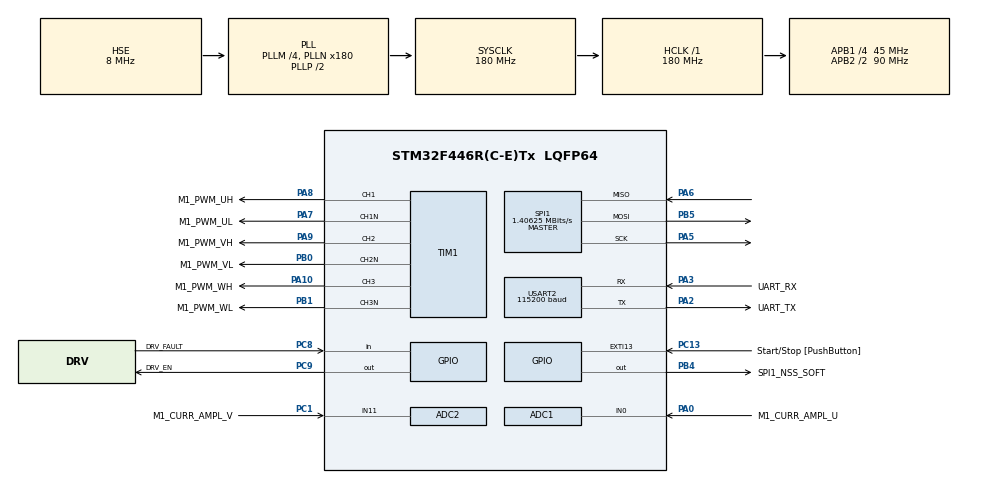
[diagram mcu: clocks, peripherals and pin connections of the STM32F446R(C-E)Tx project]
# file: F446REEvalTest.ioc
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ADC1.Channel-1\#ChannelInjectedConversion=ADC_CHANNEL_0
ADC1.Channel-1\#ChannelRegularConversion=ADC_CHANNEL_0
ADC1.ClockPrescaler=ADC_CLOCK_SYNC_PCLK_DIV4
ADC1.ContinuousConvMode=DISABLE
ADC1.DMAContinuousRequests=DISABLE
ADC1.DataAlign=ADC_DATAALIGN_LEFT
ADC1.DiscontinuousConvMode=DISABLE
ADC1.EOCSelection=ADC_EOC_SINGLE_CONV
ADC1.EnableAnalogWatchDog=false
ADC1.EnableInjectedConversion=ENABLE
ADC1.EnableRegularConversion=ENABLE
ADC1.ExternalTrigConv=ADC_SOFTWARE_START
ADC1.ExternalTrigConvEdge=ADC_EXTERNALTRIGCONVEDGE_NONE
ADC1.ExternalTrigInjecConv=ADC_EXTERNALTRIGINJECCONV_T1_CC4
ADC1.ExternalTrigInjecConvEdge=ADC_EXTERNALTRIGINJECCONVEDGE_RISING
ADC1.InjNumberOfConversion=1
ADC1.InjectedConvMode=None
ADC1.InjectedOffset-1\#ChannelInjectedConversion=0
ADC1.InjectedRank-1\#ChannelInjectedConversion=1
ADC1.NbrOfConversion=1
ADC1.NbrOfConversionFlag=1
ADC1.Rank-1\#ChannelRegularConversion=1
ADC1.Resolution=ADC_RESOLUTION_12B
ADC1.SamplingTime-1\#ChannelInjectedConversion=ADC_SAMPLETIME_3CYCLES
ADC1.SamplingTime-1\#ChannelRegularConversion=ADC_SAMPLETIME_3CYCLES
ADC1.ScanConvMode=ENABLE
ADC1.master=1
ADC2.Channel-1\#ChannelInjectedConversion=ADC_CHANNEL_11
ADC2.Channel-1\#ChannelRegularConversion=ADC_CHANNEL_11
ADC2.ClockPrescaler=ADC_CLOCK_SYNC_PCLK_DIV4
ADC2.ContinuousConvMode=DISABLE
ADC2.DMAContinuousRequests=DISABLE
ADC2.DataAlign=ADC_DATAALIGN_LEFT
ADC2.DiscontinuousConvMode=DISABLE
ADC2.EOCSelection=ADC_EOC_SINGLE_CONV
ADC2.EnableAnalogWatchDog=false
ADC2.EnableInjectedConversion=ENABLE
ADC2.EnableRegularConversion=ENABLE
ADC2.ExternalTrigConv=ADC_SOFTWARE_START
ADC2.ExternalTrigConvEdge=ADC_EXTERNALTRIGCONVEDGE_NONE
ADC2.ExternalTrigInjecConv=ADC_EXTERNALTRIGINJECCONV_T1_CC4
ADC2.ExternalTrigInjecConvEdge=ADC_EXTERNALTRIGINJECCONVEDGE_RISING
ADC2.InjNumberOfConversion=1
ADC2.InjectedConvMode=None
ADC2.InjectedOffset-1\#ChannelInjectedConversion=0
ADC2.InjectedRank-1\#ChannelInjectedConversion=1
ADC2.NbrOfConversion=1
ADC2.NbrOfConversionFlag=1
ADC2.Rank-1\#ChannelRegularConversion=1
ADC2.Resolution=ADC_RESOLUTION_12B
ADC2.SamplingTime-1\#ChannelInjectedConversion=ADC_SAMPLETIME_3CYCLES
ADC2.SamplingTime-1\#ChannelRegularConversion=ADC_SAMPLETIME_3CYCLES
ADC2.ScanConvMode=ENABLE
ExtraMW=MotorControl
ExtraMW.MotorControl.Config=MotorControl
ExtraMW.MotorControl.Mode=MotorControl
ExtraMW.MotorControl.Root=MCSDK_v5.4.4/MotorControl
ExtraMW.MotorControl.Template=templates
Mcu.Family=STM32F4
Mcu.Name=STM32F446R(C-E)Tx
Mcu.Package=LQFP64
MotorControl.ADC_1_PERIPH=ADC1
MotorControl.ADC_2_PERIPH=ADC2
MotorControl.ADC_AHBPERIPH=RCC_AHBPeriph_ADC12
MotorControl.ADC_CLOCK_WB_DIV=1
MotorControl.ADC_CLOCK_WB_FREQ=22.5
MotorControl.ADC_PERIPH=ADC1
MotorControl.ADC_REFERENCE_VOLTAGE=3.30
MotorControl.ALIGNMENT_ANGLE_DEG=90
MotorControl.ALIGNMENT_DURATION=700
MotorControl.AMPLIFICATION_GAIN=0.060
MotorControl.ANGC={0,0,0,0,0,0,0,0}
MotorControl.BEMF_CONSISTENCY_GAIN=64
MotorControl.BEMF_CONSISTENCY_TOL=64
MotorControl.BKIN1_FILTER=0
MotorControl.BKIN2_FILTER=0
MotorControl.BKIN2_MODE=NONE
MotorControl.BKIN_MODE=NONE
MotorControl.BOARD=NUCLEO-F446RE
MotorControl.BRKIN2_GPIO_AF=GPIO_AF_2
MotorControl.BRKIN_GPIO_AF=GPIO_AF_2
MotorControl.BUS_VOLTAGE_READING=false
MotorControl.CCMRAM_ENABLED=false
MotorControl.CLOCK_FREQUENCY=CPU_CLK_180_MHZ
MotorControl.CLOCK_SOURCE=EXTERNAL
MotorControl.CONSTANT1_D=8902
MotorControl.CONSTANT1_Q=8902
MotorControl.CONSTANT2_QD=3042
MotorControl.CORD_BEMF_CONSISTENCY_GAIN=64
MotorControl.CORD_BEMF_CONSISTENCY_TOL=64
MotorControl.CORD_F1=4096
MotorControl.CORD_F2=16384
MotorControl.CORD_FIFO_DEPTH_01HZ=64
MotorControl.CORD_FIFO_DEPTH_DPP=64
MotorControl.CORD_GAIN1=-4634
MotorControl.CORD_GAIN2=22123
MotorControl.CORD_MAX_ACCEL_DPPP=30
MotorControl.CORD_MEAS_ERRORS_BEFORE_FAULTS=3
MotorControl.CORD_VARIANCE_THRESHOLD=4
MotorControl.CPU_CLK_180_MHZ=true
MotorControl.CTRBDID=17
MotorControl.CUBE_MX_VER=5.6.1
MotorControl.CURRENT_READING_TOPOLOGY=ICS_SENSORS
MotorControl.CURR_SAMPLING_TIME=3
MotorControl.DAC_EMULATED=false
MotorControl.DAC_FUNCTIONALITY=false
MotorControl.DAC_TIMER_CH1_GPIO_PIN=LL_GPIO_PIN_0
MotorControl.DAC_TIMER_CH1_GPIO_PORT=GPIOA
MotorControl.DAC_TIMER_CH2_GPIO_PIN=LL_GPIO_PIN_0
MotorControl.DAC_TIMER_CH2_GPIO_PORT=GPIOA
MotorControl.DAC_TIMER_SELECTION=TIM3
MotorControl.DC_CURRENT_RS_MEAS=21.00
MotorControl.DEBUG_DAC_CH1=false
MotorControl.DEBUG_DAC_CH2=false
MotorControl.DEFAULT_CONTROL_MODE=STC_SPEED_MODE
MotorControl.DEFAULT_DAC_CHANNEL_1=MC_PROTOCOL_REG_I_A
MotorControl.DEFAULT_DAC_CHANNEL_2=MC_PROTOCOL_REG_I_B
MotorControl.DEFAULT_DAC_MOTOR=0
MotorControl.DEFAULT_FLUX_COMPONENT=0
MotorControl.DEFAULT_TARGET_SPEED_RPM=1000
MotorControl.DEFAULT_TORQUE_COMPONENT=0
MotorControl.DISSIPATIVE_BRAKE_POLARITY=DOUT_ACTIVE_HIGH
MotorControl.DRIVES_NUMBER_SELECTION=SINGLEDRIVE
MotorControl.EMERGENCY2_STOP_GPIO_PIN=LL_GPIO_PIN_6
MotorControl.EMERGENCY2_STOP_GPIO_PORT=GPIOA
MotorControl.EMERGENCY_STOP_GPIO_PIN=LL_GPIO_PIN_6
MotorControl.EMERGENCY_STOP_GPIO_PORT=GPIOA
MotorControl.ENABLE_SL_ALGO_FROM_PHASE=3
MotorControl.ENCODER_AVAILABLE=false
MotorControl.ENCODER_PPR=400
MotorControl.ENC_AVERAGING_FIFO_DEPTH=16
MotorControl.ENC_A_GPIO_PIN=LL_GPIO_PIN_15
MotorControl.ENC_A_GPIO_PORT=GPIOA
MotorControl.ENC_B_GPIO_PIN=LL_GPIO_PIN_3
MotorControl.ENC_B_GPIO_PORT=GPIOB
MotorControl.ENC_ICx_FILTER=63
MotorControl.ENC_INVERT_SPEED=false
MotorControl.ENC_MEAS_ERRORS_BEFORE_FAULTS=3
MotorControl.ENC_TIMER_REMAPPING=NO_REMAP_TIM2
MotorControl.ENC_TIMER_SELECTION=ENC_TIM2
MotorControl.ENC_USE_CH3=false
MotorControl.EXT_CLK_8_MHZ=true
MotorControl.EXT_CLOCK_FREQUENCY=EXT_CLK_8_MHZ
MotorControl.F1=4096
MotorControl.F2=16384
MotorControl.FEEDBACK_NET_FILTERING=false
MotorControl.FEED_FORWARD_CURRENT_REG_ENABLING=false
MotorControl.FINAL_I_ALIGNMENT=2323
MotorControl.FLUX_WEAKENING_ENABLING=false
MotorControl.FW_KIDIV=32768
MotorControl.FW_KI_GAIN=5000
MotorControl.FW_KPDIV=32768
MotorControl.FW_KP_GAIN=3000
MotorControl.FW_VOLTAGE_REF=985
MotorControl.GAIN1=-4634
MotorControl.GAIN2=22123
MotorControl.H1_GPIO_PIN=LL_GPIO_PIN_15
MotorControl.H1_GPIO_PORT=GPIOA
MotorControl.H2_GPIO_PIN=LL_GPIO_PIN_3
MotorControl.H2_GPIO_PORT=GPIOB
MotorControl.H3_GPIO_PIN=LL_GPIO_PIN_10
MotorControl.H3_GPIO_PORT=GPIOB
MotorControl.HALL_AVERAGING_FIFO_DEPTH=6
MotorControl.HALL_ICx_FILTER=117
MotorControl.HALL_MEAS_ERRORS_BEFORE_FAULTS=3
MotorControl.HALL_MTPA=false
MotorControl.HALL_PHASE_SHIFT=300
MotorControl.HALL_SENSORS_AVAILABLE=false
MotorControl.HALL_SENSORS_PLACEMENT=DEGREES_120
MotorControl.HALL_TIMER_REMAPPING=NO_REMAP_TIM2
MotorControl.HALL_TIMER_SELECTION=HALL_TIM2
MotorControl.HFI_AMPLITUDE=25
MotorControl.HFI_DC_0_COEFF=0.00146
MotorControl.HFI_DC_1_COEFF=0.002921
MotorControl.HFI_DC_2_COEFF=0.00146
MotorControl.HFI_DC_3_COEFF=1.889033
MotorControl.HFI_DC_4_COEFF=-0.894874
MotorControl.HFI_DEBUG_MODE=false
MotorControl.HFI_FREQUENCY=400
MotorControl.HFI_HIFRAMPLSCAN=25
MotorControl.HFI_HP_ID_0_COEFF=0.959381
MotorControl.HFI_HP_ID_1_COEFF=-1.918761
MotorControl.HFI_HP_ID_2_COEFF=0.959381
MotorControl.HFI_HP_ID_3_COEFF=1.917111
MotorControl.HFI_HP_ID_4_COEFF=-0.920412
MotorControl.HFI_IDH_DELAY=32400
MotorControl.HFI_LOCKFREQ=22
MotorControl.HFI_LP_ID_0_COEFF=0.002751
MotorControl.HFI_LP_ID_1_COEFF=0.005502
MotorControl.HFI_LP_ID_2_COEFF=0.002751
MotorControl.HFI_LP_ID_3_COEFF=1.846252
MotorControl.HFI_LP_ID_4_COEFF=-0.857255
MotorControl.HFI_MAXANGLEDIFF=3640
MotorControl.HFI_MINIMUM_SPEED_RPM=402
MotorControl.HFI_NOTCH_IQD_0_COEFF=0.979509
MotorControl.HFI_NOTCH_IQD_1_COEFF=-1.952148
MotorControl.HFI_NOTCH_IQD_2_COEFF=0.979509
MotorControl.HFI_NOTCH_IQD_3_COEFF=1.952148
MotorControl.HFI_NOTCH_IQD_4_COEFF=-0.959018
MotorControl.HFI_NSDETPOINTSSKIP=10
MotorControl.HFI_NSMAXDETPOINTS=20
MotorControl.HFI_NS_MIN_SAT_DIFF=0
MotorControl.HFI_PID_KIDIV=32768
MotorControl.HFI_PID_KI_DEFAULT=400
MotorControl.HFI_PID_KPDIV=16384
MotorControl.HFI_PID_KP_DEFAULT=800
MotorControl.HFI_PLL_KI_DEFAULT=0.00400
MotorControl.HFI_PLL_KP_DEFAULT=0.00060
MotorControl.HFI_RESTARTTIMESEC=0.1
MotorControl.HFI_RESTART_RPM_TH=(((HFI_STO_RPM_TH)+(STO_HFI_RPM_TH))/2)
MotorControl.HFI_REVERT_DIRECTION=true
MotorControl.HFI_SCANROTATIONSNO=3
MotorControl.HFI_SPD_BUFFER_DEPTH_01HZ=64
MotorControl.HFI_STEPANGLE=3640
MotorControl.HFI_STO_RPM_TH=OBS_MINIMUM_SPEED_RPM
MotorControl.HFI_WAITAFTERNS2=4
MotorControl.HFI_WAITBEFORESN=6
MotorControl.HFI_WAITSYNCH=20
MotorControl.HFI_WAITTRACK=20
MotorControl.HIGH_SIDE_BRAKE_STATE=false
MotorControl.HIGH_SIDE_IDLE_STATE=false
MotorControl.HW_COMPLEMENTED_LOW_SIDE=false
MotorControl.HW_DEAD_TIME_NS=100
MotorControl.HW_OV_CURRENT_PROT_BYPASS=false
MotorControl.ICS_SENSORS=true
MotorControl.ID_DEMAG=-25022
MotorControl.INRUSH_CURRLIMIT_AT_POWER_ON=false
MotorControl.INRUSH_CURRLIMIT_CHANGE_AFTER_MS=1000
MotorControl.INRUSH_CURRLIMIT_ENABLING=false
MotorControl.INRUSH_CURRLIMIT_GPIO_PIN=LL_GPIO_PIN_10
MotorControl.INRUSH_CURRLIMIT_GPIO_PORT=GPIOC
MotorControl.INRUSH_CURR_LIMITER_POLARITY=DOUT_ACTIVE_HIGH
MotorControl.INTERNAL_OVERCURRENTPROTECTION=false
MotorControl.INTERNAL_OVERVOLTAGEPROTECTION=false
MotorControl.IPs=NVIC,RCC,SYS,MotorControl,ADC1,ADC2,TIM1,USART2
MotorControl.IQMAX=25022
MotorControl.LCD_JOYSTICK_FUNCTIONALITY=false
MotorControl.LCD_MODE=LCD_FULL
MotorControl.LDLQ_RATIO=1.000
MotorControl.LOW_SIDE_BRAKE_STATE=false
MotorControl.LOW_SIDE_IDLE_STATE=false
MotorControl.LOW_SIDE_SIGNALS_ENABLING=LS_PWM_TIMER
MotorControl.LS=0.000040
MotorControl.MAX_APPLICATION_SPEED=6000
MotorControl.MAX_MODULATION_100_PER_CENT=true
MotorControl.MAX_MODULATION_INDEX=MAX_MODULATION_100_PER_CENT
MotorControl.MCU=STM32F446RE
MotorControl.MCU_TYPE=STM32F446xC_xE
MotorControl.MC_WORKBENCH_VERSION=5.4.4.20160
MotorControl.MEAS_ERRORS_BEFORE_FAULTS=3
MotorControl.MIN_APPLICATION_SPEED=0
MotorControl.MOTOR_MAX_SPEED_RPM=6000
MotorControl.MOTOR_TYPE=PMSM
MotorControl.MOTOR_VOLTAGE_CONSTANT=2.7
MotorControl.MTPA_ENABLING=false
MotorControl.NB_CONSECUTIVE_TESTS=50
MotorControl.NOMINAL_BUS_VOLTAGE_V=16
MotorControl.NOMINAL_CURRENT=25022
MotorControl.OBS_MEAS_ERRORS_BEFORE_FAULTS=3
MotorControl.OBS_MINIMUM_SPEED_RPM=500
MotorControl.OCPA_INVERTINGINPUT=COMPX_InvertingInput_VREF
MotorControl.OCPA_INVERTINGINPUT_GPIO_PIN=LL_GPIO_PIN_4
MotorControl.OCPA_INVERTINGINPUT_GPIO_PORT=GPIOA
MotorControl.OCPA_INVERTINGINPUT_MODE=INT_MODE
MotorControl.OCPA_NONINVERTINGINPUT=COMP1_NonInvertingInput_PA1
MotorControl.OCPA_NONINVERTINGINPUT_GPIO_PIN=LL_GPIO_PIN_1
MotorControl.OCPA_NONINVERTINGINPUT_GPIO_PORT=GPIOA
MotorControl.OCPA_OUTPUT=COMP_Output_TIM1BKIN2
MotorControl.OCPA_OUTPUTPOL=COMP_OutputPol_NonInverted
MotorControl.OCPA_OUTPUT_GPIO_AF=GPIO_AF_8
MotorControl.OCPA_OUTPUT_GPIO_PIN=LL_GPIO_PIN_0
MotorControl.OCPA_OUTPUT_GPIO_PORT=GPIOA
MotorControl.OCPA_OUTPUT_MODE=INT_MODE
MotorControl.OCPA_SELECTION=COMP1
MotorControl.OCPB_INVERTINGINPUT=COMPX_InvertingInput_VREF
MotorControl.OCPB_INVERTINGINPUT_GPIO_PIN=LL_GPIO_PIN_4
MotorControl.OCPB_INVERTINGINPUT_GPIO_PORT=GPIOA
MotorControl.OCPB_INVERTINGINPUT_MODE=INT_MODE
MotorControl.OCPB_NONINVERTINGINPUT=COMP2_NonInvertingInput_PA7
MotorControl.OCPB_NONINVERTINGINPUT_GPIO_PIN=LL_GPIO_PIN_7
MotorControl.OCPB_NONINVERTINGINPUT_GPIO_PORT=GPIOA
MotorControl.OCPB_OUTPUT=COMP_Output_TIM1BKIN2
MotorControl.OCPB_OUTPUTPOL=COMP_OutputPol_NonInverted
MotorControl.OCPB_OUTPUT_GPIO_AF=GPIO_AF_8
MotorControl.OCPB_OUTPUT_GPIO_PIN=LL_GPIO_PIN_2
MotorControl.OCPB_OUTPUT_GPIO_PORT=GPIOA
MotorControl.OCPB_OUTPUT_MODE=INT_MODE
MotorControl.OCPB_SELECTION=COMP2
MotorControl.OCPC_INVERTINGINPUT=COMPX_InvertingInput_VREF
MotorControl.OCPC_INVERTINGINPUT_GPIO_PIN=LL_GPIO_PIN_4
MotorControl.OCPC_INVERTINGINPUT_GPIO_PORT=GPIOA
MotorControl.OCPC_INVERTINGINPUT_MODE=INT_MODE
MotorControl.OCPC_NONINVERTINGINPUT=COMP3_NonInvertingInput_PD14
MotorControl.OCPC_NONINVERTINGINPUT_GPIO_PIN=LL_GPIO_PIN_14
MotorControl.OCPC_NONINVERTINGINPUT_GPIO_PORT=GPIOD
MotorControl.OCPC_OUTPUT=COMP_Output_TIM1BKIN2
MotorControl.OCPC_OUTPUTPOL=COMP_OutputPol_NonInverted
MotorControl.OCPC_OUTPUT_GPIO_AF=GPIO_AF_7
MotorControl.OCPC_OUTPUT_GPIO_PIN=LL_GPIO_PIN_8
MotorControl.OCPC_OUTPUT_GPIO_PORT=GPIOC
MotorControl.OCPC_OUTPUT_MODE=INT_MODE
MotorControl.OCPC_SELECTION=COMP3
MotorControl.OCPREF=23830
MotorControl.OCP_COMP_THRESHOLD=0.50
MotorControl.OCP_FILTER=COMP_Mode_HighSpeed
MotorControl.OCP_INVERTINGINPUT=COMPX_InvertingInput_VREF
MotorControl.OCP_INVERTINGINPUT_GPIO_PIN=LL_GPIO_PIN_4
MotorControl.OCP_INVERTINGINPUT_GPIO_PORT=GPIOA
MotorControl.OCP_INVERTINGINPUT_MODE=INT_MODE
MotorControl.OCP_NONINVERTINGINPUT=COMP2_NonInvertingInput_PA7
MotorControl.OCP_NONINVERTINGINPUT_GPIO_PIN=LL_GPIO_PIN_7
MotorControl.OCP_NONINVERTINGINPUT_GPIO_PORT=GPIOA
MotorControl.OCP_OUTPUT=COMP_Output_TIM1BKIN2
MotorControl.OCP_OUTPUTPOL=COMP_OutputPol_NonInverted
MotorControl.OCP_OUTPUT_GPIO_AF=GPIO_AF_8
MotorControl.OCP_OUTPUT_GPIO_PIN=LL_GPIO_PIN_2
MotorControl.OCP_OUTPUT_GPIO_PORT=GPIOA
MotorControl.OCP_OUTPUT_MODE=INT_MODE
MotorControl.OCP_SELECTION=COMP2
MotorControl.OFST={0,0,0,0,0,0,0,0}
MotorControl.ON_OVER_VOLTAGE=TURN_OFF_PWM
MotorControl.OPAMP1_INVERTINGINPUT=OPAMP1_InvertingInput_PGA
MotorControl.OPAMP1_INVERTINGINPUT_GPIO_PIN=LL_GPIO_PIN_3
MotorControl.OPAMP1_INVERTINGINPUT_GPIO_PORT=GPIOA
MotorControl.OPAMP1_INVERTINGINPUT_MODE=INT_MODE
MotorControl.OPAMP1_NONINVERTINGINPUT_PHA=OPAMP1_NonInvertingInput_PA1
MotorControl.OPAMP1_NONINVERTINGINPUT_PHA_GPIO_PIN=LL_GPIO_PIN_1
MotorControl.OPAMP1_NONINVERTINGINPUT_PHA_GPIO_PORT=GPIOA
MotorControl.OPAMP1_NONINVERTINGINPUT_PHB=OPAMP1_NonInvertingInput_PA7
MotorControl.OPAMP1_NONINVERTINGINPUT_PHB_GPIO_PIN=LL_GPIO_PIN_7
MotorControl.OPAMP1_NONINVERTINGINPUT_PHB_GPIO_PORT=GPIOA
MotorControl.OPAMP1_OUT_GPIO_PIN=LL_GPIO_PIN_2
MotorControl.OPAMP1_OUT_GPIO_PORT=GPIOA
MotorControl.OPAMP1_SELECTION=OPAMP1
MotorControl.OPAMP2_INVERTINGINPUT=OPAMP2_InvertingInput_PGA
MotorControl.OPAMP2_INVERTINGINPUT_GPIO_PIN=LL_GPIO_PIN_5
MotorControl.OPAMP2_INVERTINGINPUT_GPIO_PORT=GPIOC
MotorControl.OPAMP2_INVERTINGINPUT_MODE=INT_MODE
MotorControl.OPAMP2_NONINVERTINGINPUT_PHA=OPAMP2_NonInvertingInput_PD14
MotorControl.OPAMP2_NONINVERTINGINPUT_PHA_GPIO_PIN=LL_GPIO_PIN_14
MotorControl.OPAMP2_NONINVERTINGINPUT_PHA_GPIO_PORT=GPIOD
MotorControl.OPAMP2_NONINVERTINGINPUT_PHB=OPAMP2_NonInvertingInput_PA7
MotorControl.OPAMP2_NONINVERTINGINPUT_PHB_GPIO_PIN=LL_GPIO_PIN_7
MotorControl.OPAMP2_NONINVERTINGINPUT_PHB_GPIO_PORT=GPIOA
MotorControl.OPAMP2_NONINVERTINGINPUT_PHC=OPAMP2_NonInvertingInput_PD14
MotorControl.OPAMP2_NONINVERTINGINPUT_PHC_GPIO_PIN=LL_GPIO_PIN_14
MotorControl.OPAMP2_NONINVERTINGINPUT_PHC_GPIO_PORT=GPIOD
MotorControl.OPAMP2_OUT_GPIO_PIN=LL_GPIO_PIN_6
MotorControl.OPAMP2_OUT_GPIO_PORT=GPIOA
MotorControl.OPAMP2_SELECTION=OPAMP2
MotorControl.OPAMP3_INVERTINGINPUT=OPAMP1_InvertingInput_PGA
MotorControl.OPAMP3_INVERTINGINPUT_GPIO_PIN=LL_GPIO_PIN_0
MotorControl.OPAMP3_INVERTINGINPUT_GPIO_PORT=GPIOA
MotorControl.OPAMP3_INVERTINGINPUT_MODE=INT_MODE
MotorControl.OPAMP3_SELECTION=OPAMP1
MotorControl.OPAMP_INVERTINGINPUT=OPAMP1_InvertingInput_PGA
MotorControl.OPAMP_INVERTINGINPUT_GPIO_PIN=LL_GPIO_PIN_3
MotorControl.OPAMP_INVERTINGINPUT_GPIO_PORT=GPIOA
MotorControl.OPAMP_INVERTINGINPUT_MODE=INT_MODE
MotorControl.OPAMP_NONINVERTINGINPUT=OPAMP1_NonInvertingInput_PA7
MotorControl.OPAMP_NONINVERTINGINPUT_GPIO_PIN=LL_GPIO_PIN_7
MotorControl.OPAMP_NONINVERTINGINPUT_GPIO_PORT=GPIOA
MotorControl.OPAMP_OUT_GPIO_PIN=LL_GPIO_PIN_2
MotorControl.OPAMP_OUT_GPIO_PORT=GPIOA
MotorControl.OPAMP_PGACONNECT=OPAMP_PGAConnect_No
MotorControl.OPAMP_PGAGAIN=OPAMP_OPAMP_PGAGain_2
MotorControl.OPAMP_SELECTION=OPAMP1
MotorControl.OPAMP_TYPE_GAIN=INTERNAL
MotorControl.OPEN_LOOP_FOC=false
MotorControl.OPEN_LOOP_K=44
MotorControl.OPEN_LOOP_OFF=4400
MotorControl.OPEN_LOOP_SPEED_RAMP_DURATION_MS=1000
MotorControl.OPEN_LOOP_SPEED_RPM=100
MotorControl.OPEN_LOOP_VF=false
MotorControl.OPEN_LOOP_VOLTAGE_d=6000
MotorControl.OVERCURR_FEEDBACK_POLARITY=EMSTOP_ACTIVE_LOW
MotorControl.OVERCURR_PROTECTION_HW_DISABLING=DOUT_ACTIVE_HIGH
MotorControl.OVPREF=23830
MotorControl.OVP_FILTER=COMP_Mode_HighSpeed
MotorControl.OVP_INVERTINGINPUT=COMPX_InvertingInput_VREF
MotorControl.OVP_INVERTINGINPUT_GPIO_PIN=LL_GPIO_PIN_4
MotorControl.OVP_INVERTINGINPUT_GPIO_PORT=GPIOA
MotorControl.OVP_INVERTINGINPUT_MODE=INT_MODE
MotorControl.OVP_NONINVERTINGINPUT=COMP7_NonInvertingInput_PA0
MotorControl.OVP_NONINVERTINGINPUT_GPIO_PIN=LL_GPIO_PIN_0
MotorControl.OVP_NONINVERTINGINPUT_GPIO_PORT=GPIOA
MotorControl.OVP_OUTPUT=COMP_Output_TIM1BKIN
MotorControl.OVP_OUTPUTPOL=COMP_OutputPol_NonInverted
MotorControl.OVP_OUTPUT_GPIO_AF=GPIO_AF_3
MotorControl.OVP_OUTPUT_GPIO_PIN=LL_GPIO_PIN_2
MotorControl.OVP_OUTPUT_GPIO_PORT=GPIOC
MotorControl.OVP_OUTPUT_MODE=INT_MODE
MotorControl.OVP_SELECTION=COMP7
MotorControl.OV_CURR_BYPASS_GPIO_PIN=LL_GPIO_PIN_11
MotorControl.OV_CURR_BYPASS_GPIO_PORT=GPIOC
MotorControl.OV_TEMPERATURE_HYSTERESIS_C=10
MotorControl.OV_TEMPERATURE_PROT_ENABLING=false
MotorControl.OV_TEMPERATURE_THRESHOLD_C=70
MotorControl.OV_VOLTAGE_PROT_ENABLING=false
MotorControl.OV_VOLTAGE_THRESHOLD_V=30
MotorControl.PHASE1_DURATION=0
MotorControl.PHASE1_FINAL_CURRENT=0
MotorControl.PHASE1_FINAL_SPEED_RPM=0
MotorControl.PHASE2_DURATION=1500
MotorControl.PHASE2_FINAL_CURRENT=893
MotorControl.PHASE2_FINAL_SPEED_RPM=0
MotorControl.PHASE3_DURATION=1000
MotorControl.PHASE3_FINAL_CURRENT=893
MotorControl.PHASE3_FINAL_SPEED_RPM=1000
MotorControl.PHASE4_DURATION=0
MotorControl.PHASE4_FINAL_CURRENT=893
MotorControl.PHASE4_FINAL_SPEED_RPM=1000
MotorControl.PHASE5_DURATION=0
MotorControl.PHASE5_FINAL_CURRENT=893
MotorControl.PHASE5_FINAL_SPEED_RPM=1000
MotorControl.PHASE_CURRENTS_ADC=ADC123
MotorControl.PHASE_CURRENTS_CHANNEL=ADC_CHANNEL_11
MotorControl.PHASE_CURRENTS_GPIO_PIN=LL_GPIO_PIN_1
MotorControl.PHASE_CURRENTS_GPIO_PORT=GPIOC
MotorControl.PHASE_UH_GPIO_AF=GPIO_AF_6
MotorControl.PHASE_UH_GPIO_PIN=LL_GPIO_PIN_8
MotorControl.PHASE_UH_GPIO_PORT=GPIOA
MotorControl.PHASE_UH_POLARITY=H_ACTIVE_HIGH
MotorControl.PHASE_UL_GPIO_AF=GPIO_AF_6
MotorControl.PHASE_UL_GPIO_PIN=LL_GPIO_PIN_7
MotorControl.PHASE_UL_GPIO_PORT=GPIOA
MotorControl.PHASE_UL_POLARITY=L_ACTIVE_HIGH
MotorControl.PHASE_U_CURR_ADC=ADC123
MotorControl.PHASE_U_CURR_CHANNEL=ADC_CHANNEL_0
MotorControl.PHASE_U_GPIO_PIN=LL_GPIO_PIN_0
MotorControl.PHASE_U_GPIO_PORT=GPIOA
MotorControl.PHASE_VH_GPIO_AF=GPIO_AF_6
MotorControl.PHASE_VH_GPIO_PIN=LL_GPIO_PIN_9
MotorControl.PHASE_VH_GPIO_PORT=GPIOA
MotorControl.PHASE_VH_POLARITY=H_ACTIVE_HIGH
MotorControl.PHASE_VL_GPIO_AF=GPIO_AF_6
MotorControl.PHASE_VL_GPIO_PIN=LL_GPIO_PIN_0
MotorControl.PHASE_VL_GPIO_PORT=GPIOB
MotorControl.PHASE_VL_POLARITY=L_ACTIVE_HIGH
MotorControl.PHASE_V_CURR_ADC=ADC123
MotorControl.PHASE_V_CURR_CHANNEL=ADC_CHANNEL_11
MotorControl.PHASE_V_GPIO_PIN=LL_GPIO_PIN_1
MotorControl.PHASE_V_GPIO_PORT=GPIOC
MotorControl.PHASE_WH_GPIO_AF=GPIO_AF_6
MotorControl.PHASE_WH_GPIO_PIN=LL_GPIO_PIN_10
MotorControl.PHASE_WH_GPIO_PORT=GPIOA
MotorControl.PHASE_WH_POLARITY=H_ACTIVE_HIGH
MotorControl.PHASE_WL_GPIO_AF=GPIO_AF_6
MotorControl.PHASE_WL_GPIO_PIN=LL_GPIO_PIN_1
MotorControl.PHASE_WL_GPIO_PORT=GPIOB
MotorControl.PHASE_WL_POLARITY=L_ACTIVE_HIGH
MotorControl.PHASE_W_CURR_ADC=ADC123
MotorControl.PHASE_W_CURR_CHANNEL=ADC_CHANNEL_10
MotorControl.PHASE_W_GPIO_PIN=LL_GPIO_PIN_0
MotorControl.PHASE_W_GPIO_PORT=GPIOC
MotorControl.PID_FLUX_KD_DEFAULT=100
MotorControl.PID_FLUX_KI_DEFAULT=3323
MotorControl.PID_FLUX_KP_DEFAULT=3379
MotorControl.PID_SPEED_KD_DEFAULT=0
MotorControl.PID_SPEED_KI_DEFAULT=520
MotorControl.PID_SPEED_KP_DEFAULT=3958
MotorControl.PID_TORQUE_KD_DEFAULT=100
MotorControl.PID_TORQUE_KI_DEFAULT=3323
MotorControl.PID_TORQUE_KP_DEFAULT=3379
MotorControl.PLL_KI_GAIN=17
MotorControl.PLL_KP_GAIN=745
MotorControl.POLE_PAIR_NUM=7
MotorControl.POSITION_CTRL_ENABLING=false
MotorControl.PWBDID=0
MotorControl.PWM_FREQUENCY=60000
MotorControl.PWM_TIMER_REMAPPING=PWM_NO_REMAP
MotorControl.PWM_TIMER_SELECTION=PWM_TIM1
MotorControl.REGCONVADC=ADC1
MotorControl.REGULATION_EXECUTION_RATE=2
MotorControl.RS=0.59
MotorControl.RSHUNT=0.22000
MotorControl.RTOS=NONE
MotorControl.R_BRAKE_GPIO_PIN=LL_GPIO_PIN_11
MotorControl.R_BRAKE_GPIO_PORT=GPIOC
MotorControl.R_BRAKE_SWITCH_OFF_THRES_V=24
MotorControl.SEGDIV=0
MotorControl.SERIAL_COMMUNICATION=true
MotorControl.SERIAL_COM_CHANNEL1=MC_PROTOCOL_REG_I_A
MotorControl.SERIAL_COM_CHANNEL2=MC_PROTOCOL_REG_I_A
MotorControl.SERIAL_COM_MODE=COM_BIDIRECTIONAL
MotorControl.SERIAL_COM_MOTOR=0
MotorControl.SHARED_SIGNAL_ENABLE=false
MotorControl.SINGLEDRIVE=true
MotorControl.SPD_DIFFERENTIAL_TERM_ENABLING=false
MotorControl.SPEED_BAND_LOWER_LIMIT=15
MotorControl.SPEED_BAND_UPPER_LIMIT=17
MotorControl.SPEED_FEEDBACK_CHECK=true
MotorControl.SPEED_LOOP_FREQUENCY_HZ=2000
MotorControl.SPEED_SENSOR_SELECTION=STATE_OBSERVER_PLL
MotorControl.SP_KDDIV=16
MotorControl.SP_KIDIV=16384
MotorControl.SP_KPDIV=64
MotorControl.STARTING_ANGLE_DEG=90
MotorControl.START_STOP_BTN=true
MotorControl.START_STOP_GPIO_PIN=LL_GPIO_PIN_13
MotorControl.START_STOP_GPIO_PORT=GPIOC
MotorControl.START_STOP_POLARITY=DIN_ACTIVE_LOW
MotorControl.START_STOP_POLARITY_EDGE=GPIO_NOPULL
MotorControl.STATE_OBSERVER_PLL=true
MotorControl.STM32F446xC_xE=true
MotorControl.STO_FIFO_DEPTH_01HZ=64
MotorControl.STO_FIFO_DEPTH_DPP=64
MotorControl.STO_HFI_RPM_TH=460
MotorControl.SW_DEADTIME_NS=700
MotorControl.SW_OV_CURRENT_PROT_ENABLING=false
MotorControl.T0_C=25
MotorControl.TEMPERATURE_READING=false
MotorControl.TEMP_ADC_SAMPLING_TIME=28
MotorControl.TEMP_FDBK_ADC=ADC1
MotorControl.TEMP_FDBK_CHANNEL=ADC_CHANNEL_12
MotorControl.TEMP_FDBK_GPIO_PIN=LL_GPIO_PIN_2
MotorControl.TEMP_FDBK_GPIO_PORT=GPIOC
MotorControl.TFDIFFERENTIAL_TERM_ENABLING=false
MotorControl.TF_KDDIV=8192
MotorControl.TF_KIDIV=8192
MotorControl.TF_KPDIV=4096
MotorControl.TNOISE_NS=2550
MotorControl.TRANSITION_DURATION=50
MotorControl.TRISE_NS=2550
MotorControl.T_MAX=70
MotorControl.UD_VOLTAGE_THRESHOLD_V=10
MotorControl.USART_REMAPPING=NO_REMAP_USART2
MotorControl.USART_RX_GPIO_PIN=LL_GPIO_PIN_3
MotorControl.USART_RX_GPIO_PORT=GPIOA
MotorControl.USART_SELECTION=USE_USART2
MotorControl.USART_SPEED=115200
MotorControl.USART_TX_GPIO_PIN=LL_GPIO_PIN_2
MotorControl.USART_TX_GPIO_PORT=GPIOA
MotorControl.USE_3OPAMPS=false
MotorControl.USE_INTERNAL_OPAMP=false
MotorControl.UV_VOLTAGE_PROT_ENABLING=false
MotorControl.V0_V=0.290
MotorControl.VARIANCE_THRESHOLD=0.1
MotorControl.VBUS_ADC=ADC1
MotorControl.VBUS_ADC_SAMPLING_TIME=28
MotorControl.VBUS_CHANNEL=ADC_CHANNEL_1
MotorControl.VBUS_GPIO_PIN=LL_GPIO_PIN_1
MotorControl.VBUS_GPIO_PORT=GPIOA
MotorControl.VBUS_PARTITIONING_FACTOR=0.0086
MotorControl.WB_to_Mx_template_version=20-04-17
MotorControl.WB_to_Mx_version=1.1.0
MotorControl.dV_dT=0.025
NVIC.ADC_IRQn=true\:2\:0\:true\:true\:false\:1\:false\:true
NVIC.EXTI15_10_IRQn=true\:3\:0\:false\:true\:false\:5\:true\:true
NVIC.PriorityGroup=NVIC_PRIORITYGROUP_3
NVIC.TIM1_BRK_TIM9_IRQn=true\:4\:1\:false\:true\:false\:3\:true\:true
NVIC.TIM1_UP_TIM10_IRQn=true\:0\:0\:false\:true\:false\:2\:true\:true
NVIC.USART2_IRQn=true\:3\:1\:true\:true\:false\:4\:true\:true
PA0-WKUP.GPIO_Label=M1_CURR_AMPL_U
PA0-WKUP.Signal=ADCx_IN0
PA10.GPIO_Label=M1_PWM_WH
PA10.GPIO_PuPd=GPIO_PULLDOWN
PA10.GPIO_Speed=GPIO_SPEED_FREQ_HIGH
PA10.Signal=S_TIM1_CH3
PA2.GPIO_Label=UART_TX
PA2.GPIO_Mode=GPIO_MODE_AF_PP
PA2.GPIO_PuPd=GPIO_NOPULL
PA2.GPIO_Speed=GPIO_SPEED_FREQ_LOW
PA2.Mode=Asynchronous
PA2.Signal=USART2_TX
PA3.GPIO_Label=UART_RX
PA3.GPIO_Mode=GPIO_MODE_AF_PP
PA3.GPIO_PuPd=GPIO_NOPULL
PA3.GPIO_Speed=GPIO_SPEED_FREQ_LOW
PA3.Mode=Asynchronous
PA3.Signal=USART2_RX
PA5.GPIO_PuPd=GPIO_PULLUP
PA5.Mode=Full_Duplex_Master
PA5.Signal=SPI1_SCK
PA6.GPIO_PuPd=GPIO_PULLUP
PA6.Mode=Full_Duplex_Master
PA6.Signal=SPI1_MISO
PA7.GPIO_Label=M1_PWM_UL
PA7.GPIO_PuPd=GPIO_PULLDOWN
PA7.GPIO_Speed=GPIO_SPEED_FREQ_HIGH
PA7.Mode=PWM Generation1 CH1 CH1N
PA7.Signal=TIM1_CH1N
PA8.GPIO_Label=M1_PWM_UH
PA8.GPIO_PuPd=GPIO_PULLDOWN
PA8.GPIO_Speed=GPIO_SPEED_FREQ_HIGH
PA8.Signal=S_TIM1_CH1
PA9.GPIO_Label=M1_PWM_VH
PA9.GPIO_PuPd=GPIO_PULLDOWN
PA9.GPIO_Speed=GPIO_SPEED_FREQ_HIGH
PA9.Signal=S_TIM1_CH2
PB0.GPIO_Label=M1_PWM_VL
PB0.GPIO_PuPd=GPIO_PULLDOWN
PB0.GPIO_Speed=GPIO_SPEED_FREQ_HIGH
PB0.Mode=PWM Generation2 CH2 CH2N
PB0.Signal=TIM1_CH2N
PB1.GPIO_Label=M1_PWM_WL
PB1.GPIO_PuPd=GPIO_PULLDOWN
PB1.GPIO_Speed=GPIO_SPEED_FREQ_HIGH
PB1.Mode=PWM Generation3 CH3 CH3N
PB1.Signal=TIM1_CH3N
PB4.GPIO_Label=SPI1_NSS_SOFT
PB4.GPIO_PuPd=GPIO_PULLUP
PB4.GPIO_Speed=GPIO_SPEED_FREQ_VERY_HIGH
PB4.PinState=GPIO_PIN_RESET
PB4.Signal=GPIO_Output
PB5.GPIO_PuPd=GPIO_PULLUP
PB5.Mode=Full_Duplex_Master
PB5.Signal=SPI1_MOSI
PC1.GPIO_Label=M1_CURR_AMPL_V
PC1.Signal=ADCx_IN11
PC13.GPIO_Label=Start/Stop [PushButton]
PC13.GPIO_ModeDefaultEXTI=GPIO_MODE_IT_FALLING
PC13.GPIO_PuPd=GPIO_NOPULL
PC13.Signal=GPXTI13
PC8.GPIO_Label=DRV_FAULT
PC8.Signal=GPIO_Input
PC9.GPIO_Label=DRV_EN
PC9.Signal=GPIO_Output
PH0-OSC_IN.Mode=HSE-External-Oscillator
PH0-OSC_IN.Signal=RCC_OSC_IN
PH1-OSC_OUT.Mode=HSE-External-Oscillator
PH1-OSC_OUT.Signal=RCC_OSC_OUT
ProjectManager.HeapSize=0x200
ProjectManager.StackSize=0x400
ProjectManager.TargetToolchain=STM32CubeIDE
RCC.AHBFreq_Value=180000000
RCC.APB1CLKDivider=RCC_HCLK_DIV4
RCC.APB1Freq_Value=45000000
RCC.APB1TimFreq_Value=90000000
RCC.APB2CLKDivider=RCC_HCLK_DIV2
RCC.APB2Freq_Value=90000000
RCC.APB2TimFreq_Value=180000000
RCC.CortexFreq_Value=180000000
RCC.HCLKFreq_Value=180000000
RCC.HSE_VALUE=8000000
RCC.PLLM=4
RCC.PLLN=180
RCC.PLLSourceVirtual=RCC_PLLSOURCE_HSE
RCC.SYSCLKFreq_VALUE=180000000
RCC.SYSCLKSource=RCC_SYSCLKSOURCE_PLLCLK
RCC.USBFreq_Value=180000000
RCC.VCOOutputFreq_Value=360000000
SH.ADCx_IN0.0=ADC1_IN0,IN0
SH.ADCx_IN11.0=ADC2_IN11,IN11
SH.S_TIM1_CH1.0=TIM1_CH1,PWM Generation1 CH1 CH1N
SH.S_TIM1_CH2.0=TIM1_CH2,PWM Generation2 CH2 CH2N
SH.S_TIM1_CH3.0=TIM1_CH3,PWM Generation3 CH3 CH3N
SPI1.BaudRatePrescaler=SPI_BAUDRATEPRESCALER_64
SPI1.CLKPhase=SPI_PHASE_2EDGE
SPI1.CLKPolarity=SPI_POLARITY_HIGH
SPI1.CalculateBaudRate=1.40625 MBits/s
SPI1.Direction=SPI_DIRECTION_2LINES
SPI1.Mode=SPI_MODE_MASTER
SPI1.VirtualType=VM_MASTER
TIM1.BreakPolarity=TIM_BREAKPOLARITY_LOW
TIM1.BreakState=TIM_BREAK_DISABLE
TIM1.Channel-PWM\ Generation1\ CH1\ CH1N=TIM_CHANNEL_1
TIM1.Channel-PWM\ Generation2\ CH2\ CH2N=TIM_CHANNEL_2
TIM1.Channel-PWM\ Generation3\ CH3\ CH3N=TIM_CHANNEL_3
TIM1.Channel-PWM\ Generation4\ No\ Output=TIM_CHANNEL_4
TIM1.ClockDivision=TIM_CLOCKDIVISION_DIV2
TIM1.CounterMode=TIM_COUNTERMODE_CENTERALIGNED1
TIM1.DeadTime=((DEAD_TIME_COUNTS) / 2)
TIM1.LockLevel=TIM_LOCKLEVEL_1
TIM1.OCIdleState_1=TIM_OCIDLESTATE_RESET
TIM1.OCIdleState_2=TIM_OCIDLESTATE_RESET
TIM1.OCIdleState_3=TIM_OCIDLESTATE_RESET
TIM1.OCMode_PWM-PWM\ Generation4\ No\ Output=TIM_OCMODE_PWM2
TIM1.OCNIdleState_1=TIM_OCNIDLESTATE_RESET
TIM1.OCNIdleState_2=TIM_OCNIDLESTATE_RESET
TIM1.OCNIdleState_3=TIM_OCNIDLESTATE_RESET
TIM1.OCNPolarity_1=TIM_OCNPOLARITY_HIGH
TIM1.OCNPolarity_2=TIM_OCNPOLARITY_HIGH
TIM1.OCNPolarity_3=TIM_OCNPOLARITY_HIGH
TIM1.OCPolarity_1=TIM_OCPOLARITY_HIGH
TIM1.OCPolarity_2=TIM_OCPOLARITY_HIGH
TIM1.OCPolarity_3=TIM_OCPOLARITY_HIGH
TIM1.OffStateIDLEMode=TIM_OSSI_ENABLE
TIM1.OffStateRunMode=TIM_OSSR_ENABLE
TIM1.Period=((PWM_PERIOD_CYCLES) / 2)
TIM1.Prescaler=((TIM_CLOCK_DIVIDER) - 1)
TIM1.Pulse-PWM\ Generation1\ CH1=((PWM_PERIOD_CYCLES) / 4)
TIM1.Pulse-PWM\ Generation2\ CH2=((PWM_PERIOD_CYCLES) / 4)
TIM1.Pulse-PWM\ Generation3\ CH3=((PWM_PERIOD_CYCLES) / 4)
TIM1.Pulse-PWM\ Generation4\ No\ Output=(((PWM_PERIOD_CYCLES) / 2) - (HTMIN))
TIM1.RepetitionCounter=(REP_COUNTER)
TIM1.TIM_MasterOutputTrigger=TIM_TRGO_UPDATE
USART2.BaudRate=115200
USART2.VirtualMode=VM_ASYNC
USART2.VirtualMode-Asynchronous=VM_ASYNC
USART2.WordLength=WORDLENGTH_8B
VP_MotorControl_MC_ENABLED.Mode=Enabled
VP_TIM1_VS_ClockSourceITR.Mode=TriggerSource_ITR1
VP_TIM1_VS_ControllerModeTrigger.Mode=Trigger Mode
VP_TIM1_VS_no_output4.Mode=PWM Generation4 No Output
board=custom

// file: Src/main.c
/* USER CODE BEGIN Header */
/**
  ******************************************************************************
  * @file           : main.c
  * @brief          : Main program body
  ******************************************************************************
  * @attention
  *
  * <h2><center>&copy; Copyright (c) 2020 STMicroelectronics.
  * All rights reserved.</center></h2>
  *
  * This software component is licensed by ST under Ultimate Liberty license
  * SLA0044, the "License"; You may not use this file except in compliance with
  * the License. You may obtain a copy of the License at:
  *                             www.st.com/SLA0044
  *
  ******************************************************************************
  */
/* USER CODE END Header */

#include "main.h"
#include "motorcontrol.h"

/* USER CODE BEGIN Includes */
#include "stm32f4xx_hal.h"
/* USER CODE END Includes */

/* USER CODE BEGIN PD */
/* TMC6100 REGISTER LIST */
#define TMC6100_GCONF          	0x00
#define TMC6100_GSTAT          	0x01
#define TMC6100_IOIN    		0x04
#define TMC6100_OTP_PROG       	0x06
#define TMC6100_OTP_READ       	0x07
#define TMC6100_FACTORY_CONF   	0x08
#define TMC6100_SHORT_CONF     	0x09
#define TMC6100_DRV_CONF       	0x0A

/* TMC6100 WRITE BYTE */
#define TMC6100_WRITE_BYTE		0x80
/* USER CODE END PD */

ADC_HandleTypeDef hadc1;
ADC_HandleTypeDef hadc2;

SPI_HandleTypeDef hspi1;

TIM_HandleTypeDef htim1;

UART_HandleTypeDef huart2;

/* USER CODE BEGIN PV */

uint8_t SPIRxBuf [5];

/* Driver configuration */
uint8_t GCONF_Write [4] = {0x00, 0x00, 0x00, 0x40}; // {0x00, 0x00, 0x00, 0x40};
uint8_t SHORT_CONF_Write [4] = {0x60, 0x01, 0x05, 0x0A}; // {0x12, 0x01, 0x05, 0x0A}
uint8_t DRV_CONF_Write [4] = {0x00, 0x0E, 0x00, 0x00}; // {0x00, 0x0E, 0x00, 0x00}
uint8_t GSTAT_Write [4] = {0xFF, 0xFF, 0xFF, 0xFF};

/* USER CODE END PV */

void SystemClock_Config(void);
static void MX_GPIO_Init(void);
static void MX_ADC1_Init(void);
static void MX_ADC2_Init(void);
static void MX_SPI1_Init(void);
static void MX_TIM1_Init(void);
static void MX_USART2_UART_Init(void);
static void MX_NVIC_Init(void);
/* USER CODE BEGIN PFP */

void SPIread (uint8_t address, uint8_t *rxBuf);
void SPIwrite (uint8_t address, uint8_t *data);
void configureDriver (void);
void resetDriver (void);

/* USER CODE END PFP */

int main(void)
{

  /* MCU Configuration--------------------------------------------------------*/

  /* Reset of all peripherals, Initializes the Flash interface and the Systick. */
  HAL_Init();

  /* Configure the system clock */
  SystemClock_Config();

  /* Initialize all configured peripherals */
  MX_GPIO_Init();
  MX_ADC1_Init();
  MX_ADC2_Init();
  MX_SPI1_Init();
  MX_TIM1_Init();
  MX_USART2_UART_Init();
  MX_MotorControl_Init();

  /* Initialize interrupts */
  MX_NVIC_Init();
  /* USER CODE BEGIN 2 */

  /* Reset the driver */
  resetDriver ();
  /* Write driver configuration to its registers through SPI */
  configureDriver ();

  /* DEBUG: read the registers after writing */
  SPIread (TMC6100_GCONF, SPIRxBuf);
  SPIread (TMC6100_SHORT_CONF, SPIRxBuf);
  SPIread (TMC6100_DRV_CONF, SPIRxBuf);

  /* USER CODE END 2 */

  /* Infinite loop */
  while (1)
  {

    /* USER CODE BEGIN 3 */

	  SPIread (TMC6100_GSTAT, SPIRxBuf);
	  if (SPIRxBuf [4] > 0x01) {
		  SPIread (TMC6100_IOIN, SPIRxBuf);
		  //resetDriver ();
		  //configureDriver ();
	  }
  }
  /* USER CODE END 3 */
}

void SystemClock_Config(void)
{
  RCC_OscInitTypeDef RCC_OscInitStruct = {0};
  RCC_ClkInitTypeDef RCC_ClkInitStruct = {0};

  /** Configure the main internal regulator output voltage
  */
  __HAL_RCC_PWR_CLK_ENABLE();
  __HAL_PWR_VOLTAGESCALING_CONFIG(PWR_REGULATOR_VOLTAGE_SCALE1);
  /** Initializes the CPU, AHB and APB busses clocks
  */
  RCC_OscInitStruct.OscillatorType = RCC_OSCILLATORTYPE_HSE;
  RCC_OscInitStruct.HSEState = RCC_HSE_ON;
  RCC_OscInitStruct.PLL.PLLState = RCC_PLL_ON;
  RCC_OscInitStruct.PLL.PLLSource = RCC_PLLSOURCE_HSE;
  RCC_OscInitStruct.PLL.PLLM = 4;
  RCC_OscInitStruct.PLL.PLLN = 180;
  RCC_OscInitStruct.PLL.PLLP = RCC_PLLP_DIV2;
  RCC_OscInitStruct.PLL.PLLQ = 2;
  RCC_OscInitStruct.PLL.PLLR = 2;
  if (HAL_RCC_OscConfig(&RCC_OscInitStruct) != HAL_OK)
  {
    Error_Handler();
  }
  /** Activate the Over-Drive mode
  */
  if (HAL_PWREx_EnableOverDrive() != HAL_OK)
  {
    Error_Handler();
  }
  /** Initializes the CPU, AHB and APB busses clocks
  */
  RCC_ClkInitStruct.ClockType = RCC_CLOCKTYPE_HCLK|RCC_CLOCKTYPE_SYSCLK
                              |RCC_CLOCKTYPE_PCLK1|RCC_CLOCKTYPE_PCLK2;
  RCC_ClkInitStruct.SYSCLKSource = RCC_SYSCLKSOURCE_PLLCLK;
  RCC_ClkInitStruct.AHBCLKDivider = RCC_SYSCLK_DIV1;
  RCC_ClkInitStruct.APB1CLKDivider = RCC_HCLK_DIV4;
  RCC_ClkInitStruct.APB2CLKDivider = RCC_HCLK_DIV2;

  if (HAL_RCC_ClockConfig(&RCC_ClkInitStruct, FLASH_LATENCY_5) != HAL_OK)
  {
    Error_Handler();
  }
}

/**
  * @brief NVIC Configuration.
  * @retval None
  */
static void MX_NVIC_Init(void)
{
  /* ADC_IRQn interrupt configuration */
  HAL_NVIC_SetPriority(ADC_IRQn, 2, 0);
  HAL_NVIC_EnableIRQ(ADC_IRQn);
  /* TIM1_UP_TIM10_IRQn interrupt configuration */
  HAL_NVIC_SetPriority(TIM1_UP_TIM10_IRQn, 0, 0);
  HAL_NVIC_EnableIRQ(TIM1_UP_TIM10_IRQn);
  /* TIM1_BRK_TIM9_IRQn interrupt configuration */
  HAL_NVIC_SetPriority(TIM1_BRK_TIM9_IRQn, 4, 1);
  HAL_NVIC_EnableIRQ(TIM1_BRK_TIM9_IRQn);
  /* USART2_IRQn interrupt configuration */
  HAL_NVIC_SetPriority(USART2_IRQn, 3, 1);
  HAL_NVIC_EnableIRQ(USART2_IRQn);
  /* EXTI15_10_IRQn interrupt configuration */
  HAL_NVIC_SetPriority(EXTI15_10_IRQn, 3, 0);
  HAL_NVIC_EnableIRQ(EXTI15_10_IRQn);
}

static void MX_ADC1_Init(void)
{

  ADC_InjectionConfTypeDef sConfigInjected = {0};
  ADC_ChannelConfTypeDef sConfig = {0};

  /** Configure the global features of the ADC (Clock, Resolution, Data Alignment and number of conversion)
  */
  hadc1.Instance = ADC1;
  hadc1.Init.ClockPrescaler = ADC_CLOCK_SYNC_PCLK_DIV4;
  hadc1.Init.Resolution = ADC_RESOLUTION_12B;
  hadc1.Init.ScanConvMode = ENABLE;
  hadc1.Init.ContinuousConvMode = DISABLE;
  hadc1.Init.DiscontinuousConvMode = DISABLE;
  hadc1.Init.ExternalTrigConvEdge = ADC_EXTERNALTRIGCONVEDGE_NONE;
  hadc1.Init.ExternalTrigConv = ADC_SOFTWARE_START;
  hadc1.Init.DataAlign = ADC_DATAALIGN_LEFT;
  hadc1.Init.NbrOfConversion = 1;
  hadc1.Init.DMAContinuousRequests = DISABLE;
  hadc1.Init.EOCSelection = ADC_EOC_SINGLE_CONV;
  if (HAL_ADC_Init(&hadc1) != HAL_OK)
  {
    Error_Handler();
  }
  /** Configures for the selected ADC injected channel its corresponding rank in the sequencer and its sample time
  */
  sConfigInjected.InjectedChannel = ADC_CHANNEL_0;
  sConfigInjected.InjectedRank = 1;
  sConfigInjected.InjectedNbrOfConversion = 1;
  sConfigInjected.InjectedSamplingTime = ADC_SAMPLETIME_3CYCLES;
  sConfigInjected.ExternalTrigInjecConvEdge = ADC_EXTERNALTRIGINJECCONVEDGE_RISING;
  sConfigInjected.ExternalTrigInjecConv = ADC_EXTERNALTRIGINJECCONV_T1_CC4;
  sConfigInjected.AutoInjectedConv = DISABLE;
  sConfigInjected.InjectedDiscontinuousConvMode = DISABLE;
  sConfigInjected.InjectedOffset = 0;
  if (HAL_ADCEx_InjectedConfigChannel(&hadc1, &sConfigInjected) != HAL_OK)
  {
    Error_Handler();
  }
  /** Configure for the selected ADC regular channel its corresponding rank in the sequencer and its sample time.
  */
  sConfig.Channel = ADC_CHANNEL_0;
  sConfig.Rank = 1;
  sConfig.SamplingTime = ADC_SAMPLETIME_3CYCLES;
  if (HAL_ADC_ConfigChannel(&hadc1, &sConfig) != HAL_OK)
  {
    Error_Handler();
  }

}

static void MX_ADC2_Init(void)
{

  ADC_InjectionConfTypeDef sConfigInjected = {0};
  ADC_ChannelConfTypeDef sConfig = {0};

  /** Configure the global features of the ADC (Clock, Resolution, Data Alignment and number of conversion)
  */
  hadc2.Instance = ADC2;
  hadc2.Init.ClockPrescaler = ADC_CLOCK_SYNC_PCLK_DIV4;
  hadc2.Init.Resolution = ADC_RESOLUTION_12B;
  hadc2.Init.ScanConvMode = ENABLE;
  hadc2.Init.ContinuousConvMode = DISABLE;
  hadc2.Init.DiscontinuousConvMode = DISABLE;
  hadc2.Init.ExternalTrigConvEdge = ADC_EXTERNALTRIGCONVEDGE_NONE;
  hadc2.Init.ExternalTrigConv = ADC_SOFTWARE_START;
  hadc2.Init.DataAlign = ADC_DATAALIGN_LEFT;
  hadc2.Init.NbrOfConversion = 1;
  hadc2.Init.DMAContinuousRequests = DISABLE;
  hadc2.Init.EOCSelection = ADC_EOC_SINGLE_CONV;
  if (HAL_ADC_Init(&hadc2) != HAL_OK)
  {
    Error_Handler();
  }
  /** Configures for the selected ADC injected channel its corresponding rank in the sequencer and its sample time
  */
  sConfigInjected.InjectedChannel = ADC_CHANNEL_11;
  sConfigInjected.InjectedRank = 1;
  sConfigInjected.InjectedNbrOfConversion = 1;
  sConfigInjected.InjectedSamplingTime = ADC_SAMPLETIME_3CYCLES;
  sConfigInjected.ExternalTrigInjecConvEdge = ADC_EXTERNALTRIGINJECCONVEDGE_RISING;
  sConfigInjected.ExternalTrigInjecConv = ADC_EXTERNALTRIGINJECCONV_T1_CC4;
  sConfigInjected.AutoInjectedConv = DISABLE;
  sConfigInjected.InjectedDiscontinuousConvMode = DISABLE;
  sConfigInjected.InjectedOffset = 0;
  if (HAL_ADCEx_InjectedConfigChannel(&hadc2, &sConfigInjected) != HAL_OK)
  {
    Error_Handler();
  }
  /** Configure for the selected ADC regular channel its corresponding rank in the sequencer and its sample time.
  */
  sConfig.Channel = ADC_CHANNEL_11;
  sConfig.Rank = 1;
  sConfig.SamplingTime = ADC_SAMPLETIME_3CYCLES;
  if (HAL_ADC_ConfigChannel(&hadc2, &sConfig) != HAL_OK)
  {
    Error_Handler();
  }

}

static void MX_SPI1_Init(void)
{

  /* SPI1 parameter configuration*/
  hspi1.Instance = SPI1;
  hspi1.Init.Mode = SPI_MODE_MASTER;
  hspi1.Init.Direction = SPI_DIRECTION_2LINES;
  hspi1.Init.DataSize = SPI_DATASIZE_8BIT;
  hspi1.Init.CLKPolarity = SPI_POLARITY_HIGH;
  hspi1.Init.CLKPhase = SPI_PHASE_2EDGE;
  hspi1.Init.NSS = SPI_NSS_SOFT;
  hspi1.Init.BaudRatePrescaler = SPI_BAUDRATEPRESCALER_64;
  hspi1.Init.FirstBit = SPI_FIRSTBIT_MSB;
  hspi1.Init.TIMode = SPI_TIMODE_DISABLE;
  hspi1.Init.CRCCalculation = SPI_CRCCALCULATION_DISABLE;
  hspi1.Init.CRCPolynomial = 10;
  if (HAL_SPI_Init(&hspi1) != HAL_OK)
  {
    Error_Handler();
  }

}

static void MX_TIM1_Init(void)
{

  TIM_SlaveConfigTypeDef sSlaveConfig = {0};
  TIM_MasterConfigTypeDef sMasterConfig = {0};
  TIM_OC_InitTypeDef sConfigOC = {0};
  TIM_BreakDeadTimeConfigTypeDef sBreakDeadTimeConfig = {0};

  htim1.Instance = TIM1;
  htim1.Init.Prescaler = ((TIM_CLOCK_DIVIDER) - 1);
  htim1.Init.CounterMode = TIM_COUNTERMODE_CENTERALIGNED1;
  htim1.Init.Period = ((PWM_PERIOD_CYCLES) / 2);
  htim1.Init.ClockDivision = TIM_CLOCKDIVISION_DIV2;
  htim1.Init.RepetitionCounter = (REP_COUNTER);
  htim1.Init.AutoReloadPreload = TIM_AUTORELOAD_PRELOAD_DISABLE;
  if (HAL_TIM_Base_Init(&htim1) != HAL_OK)
  {
    Error_Handler();
  }
  if (HAL_TIM_PWM_Init(&htim1) != HAL_OK)
  {
    Error_Handler();
  }
  sSlaveConfig.SlaveMode = TIM_SLAVEMODE_TRIGGER;
  sSlaveConfig.InputTrigger = TIM_TS_ITR1;
  if (HAL_TIM_SlaveConfigSynchro(&htim1, &sSlaveConfig) != HAL_OK)
  {
    Error_Handler();
  }
  sMasterConfig.MasterOutputTrigger = TIM_TRGO_UPDATE;
  sMasterConfig.MasterSlaveMode = TIM_MASTERSLAVEMODE_DISABLE;
  if (HAL_TIMEx_MasterConfigSynchronization(&htim1, &sMasterConfig) != HAL_OK)
  {
    Error_Handler();
  }
  sConfigOC.OCMode = TIM_OCMODE_PWM1;
  sConfigOC.Pulse = 0;
  sConfigOC.OCPolarity = TIM_OCPOLARITY_HIGH;
  sConfigOC.OCNPolarity = TIM_OCNPOLARITY_HIGH;
  sConfigOC.OCFastMode = TIM_OCFAST_DISABLE;
  sConfigOC.OCIdleState = TIM_OCIDLESTATE_RESET;
  sConfigOC.OCNIdleState = TIM_OCNIDLESTATE_RESET;
  if (HAL_TIM_PWM_ConfigChannel(&htim1, &sConfigOC, TIM_CHANNEL_1) != HAL_OK)
  {
    Error_Handler();
  }
  if (HAL_TIM_PWM_ConfigChannel(&htim1, &sConfigOC, TIM_CHANNEL_2) != HAL_OK)
  {
    Error_Handler();
  }
  if (HAL_TIM_PWM_ConfigChannel(&htim1, &sConfigOC, TIM_CHANNEL_3) != HAL_OK)
  {
    Error_Handler();
  }
  sConfigOC.OCMode = TIM_OCMODE_PWM2;
  sConfigOC.Pulse = (((PWM_PERIOD_CYCLES) / 2) - (HTMIN));
  if (HAL_TIM_PWM_ConfigChannel(&htim1, &sConfigOC, TIM_CHANNEL_4) != HAL_OK)
  {
    Error_Handler();
  }
  sBreakDeadTimeConfig.OffStateRunMode = TIM_OSSR_ENABLE;
  sBreakDeadTimeConfig.OffStateIDLEMode = TIM_OSSI_ENABLE;
  sBreakDeadTimeConfig.LockLevel = TIM_LOCKLEVEL_1;
  sBreakDeadTimeConfig.DeadTime = ((DEAD_TIME_COUNTS) / 2);
  sBreakDeadTimeConfig.BreakState = TIM_BREAK_DISABLE;
  sBreakDeadTimeConfig.BreakPolarity = TIM_BREAKPOLARITY_LOW;
  sBreakDeadTimeConfig.AutomaticOutput = TIM_AUTOMATICOUTPUT_DISABLE;
  if (HAL_TIMEx_ConfigBreakDeadTime(&htim1, &sBreakDeadTimeConfig) != HAL_OK)
  {
    Error_Handler();
  }
  HAL_TIM_MspPostInit(&htim1);

}

static void MX_USART2_UART_Init(void)
{

  huart2.Instance = USART2;
  huart2.Init.BaudRate = 115200;
  huart2.Init.WordLength = UART_WORDLENGTH_8B;
  huart2.Init.StopBits = UART_STOPBITS_1;
  huart2.Init.Parity = UART_PARITY_NONE;
  huart2.Init.Mode = UART_MODE_TX_RX;
  huart2.Init.HwFlowCtl = UART_HWCONTROL_NONE;
  huart2.Init.OverSampling = UART_OVERSAMPLING_16;
  if (HAL_UART_Init(&huart2) != HAL_OK)
  {
    Error_Handler();
  }

}

static void MX_GPIO_Init(void)
{
  GPIO_InitTypeDef GPIO_InitStruct = {0};

  /* GPIO Ports Clock Enable */
  __HAL_RCC_GPIOC_CLK_ENABLE();
  __HAL_RCC_GPIOH_CLK_ENABLE();
  __HAL_RCC_GPIOA_CLK_ENABLE();
  __HAL_RCC_GPIOB_CLK_ENABLE();

  /*Configure GPIO pin Output Level */
  HAL_GPIO_WritePin(DRV_EN_GPIO_Port, DRV_EN_Pin, GPIO_PIN_RESET);

  /*Configure GPIO pin Output Level */
  HAL_GPIO_WritePin(SPI1_NSS_SOFT_GPIO_Port, SPI1_NSS_SOFT_Pin, GPIO_PIN_RESET);

  /*Configure GPIO pin : Start_Stop_Pin */
  GPIO_InitStruct.Pin = Start_Stop_Pin;
  GPIO_InitStruct.Mode = GPIO_MODE_IT_FALLING;
  GPIO_InitStruct.Pull = GPIO_NOPULL;
  HAL_GPIO_Init(Start_Stop_GPIO_Port, &GPIO_InitStruct);

  /*Configure GPIO pin : DRV_FAULT_Pin */
  GPIO_InitStruct.Pin = DRV_FAULT_Pin;
  GPIO_InitStruct.Mode = GPIO_MODE_INPUT;
  GPIO_InitStruct.Pull = GPIO_NOPULL;
  HAL_GPIO_Init(DRV_FAULT_GPIO_Port, &GPIO_InitStruct);

  /*Configure GPIO pin : DRV_EN_Pin */
  GPIO_InitStruct.Pin = DRV_EN_Pin;
  GPIO_InitStruct.Mode = GPIO_MODE_OUTPUT_PP;
  GPIO_InitStruct.Pull = GPIO_NOPULL;
  GPIO_InitStruct.Speed = GPIO_SPEED_FREQ_LOW;
  HAL_GPIO_Init(DRV_EN_GPIO_Port, &GPIO_InitStruct);

  /*Configure GPIO pin : SPI1_NSS_SOFT_Pin */
  GPIO_InitStruct.Pin = SPI1_NSS_SOFT_Pin;
  GPIO_InitStruct.Mode = GPIO_MODE_OUTPUT_PP;
  GPIO_InitStruct.Pull = GPIO_PULLUP;
  GPIO_InitStruct.Speed = GPIO_SPEED_FREQ_VERY_HIGH;
  HAL_GPIO_Init(SPI1_NSS_SOFT_GPIO_Port, &GPIO_InitStruct);

}

/* USER CODE BEGIN 4 */
void SPIread (uint8_t address, uint8_t *inputBuffer) {
	uint8_t outputBuffer [5] = {address, 0x00, 0x00, 0x00, 0x00};
	/* READ */
	/* Pull NSS LOW before beginning the transaction*/
	HAL_GPIO_WritePin(GPIOB, GPIO_PIN_4, GPIO_PIN_RESET);
	/* Transaction */
	HAL_SPI_TransmitReceive(&hspi1, outputBuffer, inputBuffer, 5, 1);
	/* Transaction is over; pull NSS HIGH once again */
	HAL_GPIO_WritePin(GPIOB, GPIO_PIN_4, GPIO_PIN_SET);
}

void SPIwrite (uint8_t address, uint8_t *data) {
	uint8_t outputBuffer [5] = {address + TMC6100_WRITE_BYTE, data [0], data [1], data [2], data [3]};
	uint8_t inputBuffer [5];
	/* READ */
	/* Pull NSS LOW before beginning the transaction*/
	HAL_GPIO_WritePin(GPIOB, GPIO_PIN_4, GPIO_PIN_RESET);
	/* Transaction */
	HAL_SPI_TransmitReceive(&hspi1, outputBuffer, inputBuffer, 5, 1);
	/* Transaction is over; pull NSS HIGH once again */
	HAL_GPIO_WritePin(GPIOB, GPIO_PIN_4, GPIO_PIN_SET);
}

void configureDriver (void) {
	SPIwrite (TMC6100_GCONF, GCONF_Write);
	SPIwrite (TMC6100_SHORT_CONF, SHORT_CONF_Write);
	SPIwrite (TMC6100_DRV_CONF, DRV_CONF_Write);
}

void resetDriver (void) {
	HAL_GPIO_WritePin(GPIOC, GPIO_PIN_9, GPIO_PIN_RESET);
	HAL_Delay (50);
	HAL_GPIO_WritePin(GPIOC, GPIO_PIN_9, GPIO_PIN_SET);
}

/* USER CODE END 4 */

void Error_Handler(void)
{
}

/************************ (C) COPYRIGHT STMicroelectronics *****END OF FILE****/
